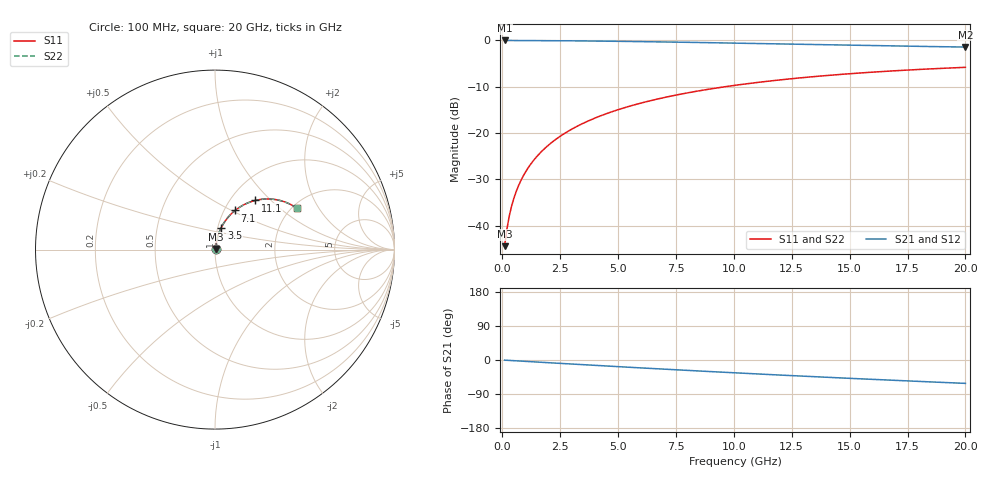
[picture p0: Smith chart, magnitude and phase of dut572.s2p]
! Touchstone file exported from HFSS 2026.1.0
!  File:  C:/ffzhzh/LocalFiles/Ansys_Project_Files/temp_train_BSMRDL_572_1783015528_46388.aedt
!  Generated:  02:07:01 AM Jul  3, 2026
!  Design:  BSMRDL
!  Project:  temp_train_BSMRDL_572_1783015528_46388
! Variables:
!  h_bsmrdl = 4.22um
!  h_ox = 20um
!  h_rdl = 5um
!  h_sub = 80um
!  h_tmrdl = 5um
!  h_tsv = 80um
!  h_via = 3um
!  l_bsmrdl = 978.96um
!  l_sub = 1378.96um
!  l_tmrdl = 200um
!  m_sub = 200um
!  pitch = 45.95um
!  r_tsv = 6um
!  s_tmrdl = 10um
!  w_bsmrdl = 18.73um
!  w_sub = 500um
!  w_tmrdl = 12um
!  x_tsv_center1 = 206um
!  x_tsv_center2 = 1203.69um
!  x_tsv_center3 = 1415.69um
!  x_tsv_center4 = 2413.38um
!  x_tsv_center5 = 2625.38um
!  x_tsv_center6 = 3623.07um
# GHz S MA R 50.000000
! Terminal data exported
! Port[1] = BSM_RDL1_1_T1
! Port[2] = BSM_RDL1_1_T2
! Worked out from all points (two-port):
!   200 points, 100 MHz to 20 GHz, reference 50 ohm
!   highest |S21| = -0.04 dB at 100 MHz (marker M1); lowest = -1.5 dB at 20 GHz (marker M2)
!   |S21| within 3 dB of the highest: start of sweep to end of sweep
!   lowest |S11| = -44.4 dB at 100 MHz (marker M3), VSWR 1.01, Z = 50.5 + j0.404 ohm
!   |S11| at or under -10 dB: start of sweep to 9.633 GHz
!   |S22| runs from -44.4 to -5.8 dB; largest |S21 - S12| = 7.1e-15
!   S11 on the Smith chart (normalised r, x): 100 MHz: 1.01, +0.01; 3.5 GHz: 1.04, +0.26; 7.1 GHz: 1.12, +0.52; 11.1 GHz: 1.29, +0.81; 20 GHz: 2.12, +1.32
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0.1  0.006047 41.5  0.9955 -0.4  0.9955 -0.4  0.006047 41.5
! Gamma 0 0 0 0
! Port Impedance 50 0 50 0
0.2  0.009236 58.6  0.9953 -0.7  0.9953 -0.7  0.009236 58.6
0.3  0.01272 66.1  0.995 -1.1  0.995 -1.1  0.01272 66.1
0.4  0.01627 70.3  0.9948 -1.5  0.9948 -1.5  0.01627 70.3
0.5  0.01984 72.9  0.9946 -1.8  0.9946 -1.8  0.01984 72.9
0.6  0.02344 74.7  0.9944 -2.2  0.9944 -2.2  0.02344 74.7
0.8  0.03068 76.8  0.9941 -2.9  0.9941 -2.9  0.03068 76.8
1.1  0.04161 78.2  0.9935 -4.0  0.9935 -4.0  0.04161 78.2
1.5  0.05621 78.6  0.9925 -5.4  0.9925 -5.4  0.05621 78.6
2.1  0.07803 77.8  0.9906 -7.5  0.9906 -7.5  0.07803 77.8
2.7  0.09959 76.4  0.9881 -9.6  0.9881 -9.6  0.09959 76.4
3.5  0.1278 74.1  0.9841 -12.4  0.9841 -12.4  0.1278 74.1
4.2  0.1519 72.0  0.98 -14.8  0.98 -14.8  0.1519 72.0
5  0.1787 69.5  0.9747 -17.6  0.9747 -17.6  0.1787 69.5
6.8  0.2357 63.8  0.9609 -23.6  0.9609 -23.6  0.2358 63.8
7.1  0.2448 62.9  0.9584 -24.5  0.9584 -24.5  0.2448 62.9
8.5  0.2855 58.5  0.9462 -29.0  0.9462 -29.0  0.2855 58.5
10.1  0.3284 53.7  0.9315 -34.0  0.9315 -34.0  0.3284 53.7
11.1  0.3532 50.8  0.9221 -37.1  0.9221 -37.1  0.3533 50.7
13.4  0.4048 44.2  0.9003 -43.9  0.9003 -43.9  0.4048 44.2
16.7  0.4653 35.3  0.8706 -53.0  0.8706 -53.0  0.4653 35.2
20  0.511 26.9  0.845 -61.7  0.845 -61.7  0.5111 26.8
